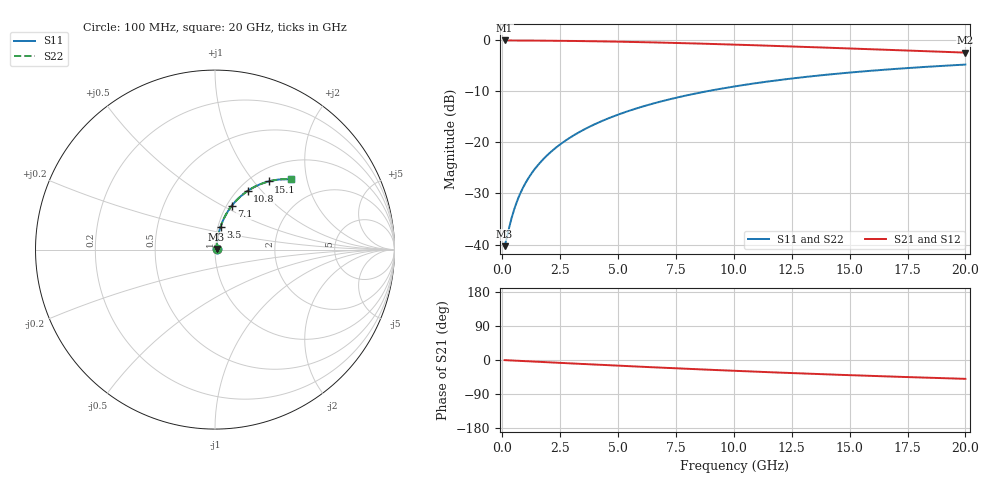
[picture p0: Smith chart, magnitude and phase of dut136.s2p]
! Touchstone file exported from HFSS 2024.1.0
!  File:  C:/UserFiles/LocalFiles/RDL_TSV_Batchsim/temp_RDL_bottom_136_1778696700.aedt
!  Generated:  02:27:46 AM May 14, 2026
!  Design:  RDL_bottom
!  Project:  temp_RDL_bottom_136_1778696700
!  Setup:  Setup1
!  Solution:  Sweep
! Variables:
!  dtsv = 10.80580581um
!  hbump = 3um
!  htsv = 93.38um
!  ldown = 587.95um
!  lrdl = 100um
!  p = 40
!  p1 = 59.2um
!  rhole = 1um
!  t = 450um
!  tdown = 2.19um
!  trdl = 3.915915916um
!  wdown = 10.81um
!  wrdl = 20um
# GHz S MA R 50.000000
! Terminal data exported
! Port[1] = RDL1_T1
! Port[2] = RDL1_T2
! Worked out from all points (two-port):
!   200 points, 100 MHz to 20 GHz, reference 50 ohm
!   highest |S21| = -0.08 dB at 100 MHz (marker M1); lowest = -2.5 dB at 20 GHz (marker M2)
!   |S21| within 3 dB of the highest: start of sweep to end of sweep
!   lowest |S11| = -40.3 dB at 100 MHz (marker M3), VSWR 1.02, Z = 50.9 + j0.396 ohm
!   |S11| at or under -10 dB: start of sweep to 8.858 GHz
!   |S22| runs from -40.3 to -4.8 dB; largest |S21 - S12| = 2.3e-15
!   S11 on the Smith chart (normalised r, x): 100 MHz: 1.02, +0.01; 3.5 GHz: 1.03, +0.27; 7.1 GHz: 1.06, +0.55; 10.8 GHz: 1.11, +0.84; 15.1 GHz: 1.20, +1.19; 20 GHz: 1.37, +1.61
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0.1  0.009632 23.9  0.9912 -0.3  0.9912 -0.3  0.009632 23.9
! Gamma 0 0 0 0
! Port Impedance 50 0 50 0
0.4  0.01806 59.2  0.9909 -1.2  0.9909 -1.2  0.01806 59.2
0.6  0.02515 67.1  0.9905 -1.9  0.9905 -1.9  0.02515 67.1
0.7  0.02879 69.4  0.9902 -2.2  0.9902 -2.2  0.02879 69.4
0.9  0.03616 72.5  0.9897 -2.8  0.9897 -2.8  0.03616 72.5
1.2  0.04726 75.0  0.9888 -3.7  0.9888 -3.7  0.04726 75.0
1.4  0.05467 76.0  0.9881 -4.3  0.9881 -4.3  0.05467 76.0
1.7  0.06579 76.8  0.987 -5.2  0.987 -5.2  0.06579 76.8
2.2  0.0843 77.3  0.9848 -6.7  0.9848 -6.7  0.0843 77.3
2.8  0.1065 77.1  0.9816 -8.5  0.9816 -8.5  0.1065 77.1
3.5  0.1322 76.3  0.9771 -10.6  0.9771 -10.6  0.1322 76.3
4.2  0.1577 75.2  0.9717 -12.6  0.9717 -12.6  0.1577 75.2
5  0.1864 73.7  0.9647 -14.9  0.9647 -14.9  0.1864 73.7
6.8  0.2491 69.9  0.9455 -20.0  0.9455 -20.0  0.249 69.9
7.1  0.2592 69.2  0.9419 -20.8  0.9419 -20.8  0.2591 69.2
8.5  0.3049 66.1  0.924 -24.6  0.924 -24.6  0.3049 66.1
10.1  0.354 62.5  0.9017 -28.7  0.9017 -28.7  0.3539 62.4
10.8  0.3743 60.9  0.8914 -30.4  0.8914 -30.4  0.3743 60.9
13.4  0.4434 55.3  0.8521 -36.5  0.8521 -36.5  0.4433 55.3
15.1  0.4831 51.8  0.8261 -40.2  0.8261 -40.2  0.483 51.8
16.7  0.5167 48.7  0.8018 -43.5  0.8018 -43.5  0.5166 48.7
20  0.5755 42.9  0.754 -49.7  0.754 -49.7  0.5754 42.8
